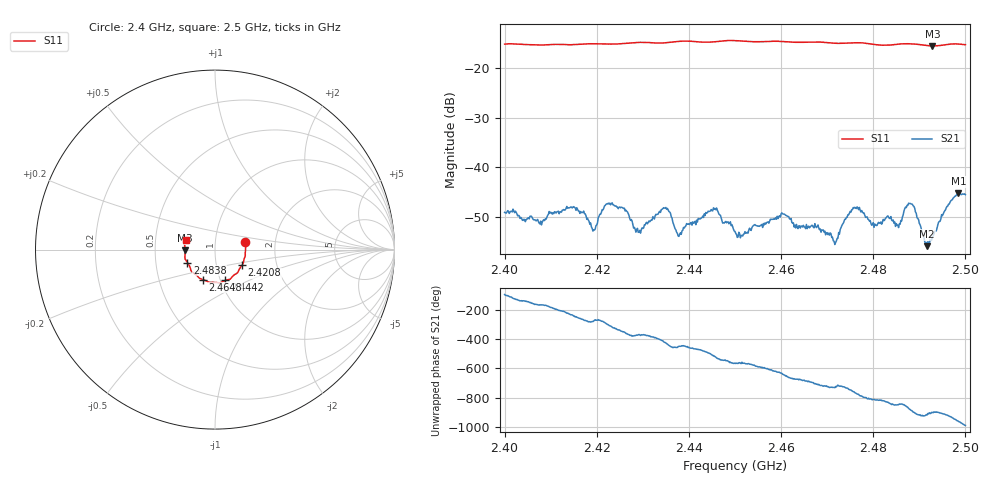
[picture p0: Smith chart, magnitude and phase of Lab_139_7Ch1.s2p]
# Hz S RI R 50
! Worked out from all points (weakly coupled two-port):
!   601 points, 2.4 GHz to 2.5 GHz, reference 50 ohm
!   highest |S21| = -45.22 dB at 2.4985 GHz (marker M1); lowest = -55.8 dB at 2.4917 GHz (marker M2)
!   lowest |S11| = -15.6 dB at 2.4928 GHz (marker M3), VSWR 1.40, Z = 35.8 - j0.348 ohm
!   |S11| at or under -10 dB: start of sweep to end of sweep
!   S12 and S22 are empty: the file has one direction only
!   S11 on the Smith chart (normalised r, x): 2.4 GHz: 1.40, +0.12; 2.4208 GHz: 1.33, -0.24; 2.4442 GHz: 1.05, -0.37; 2.4648 GHz: 0.83, -0.29; 2.4838 GHz: 0.73, -0.11; 2.5 GHz: 0.72, +0.08
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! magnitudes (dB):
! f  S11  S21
! 2.4 GHz  -15.2  -49.0
! 2.4167 GHz  -15.2  -49.1
! 2.4193 GHz  -15.2  -52.6
! 2.4208 GHz  -15.2  -49.4
! 2.4255 GHz  -15.2  -48.1
! 2.429 GHz  -14.9  -53.1
! 2.4333 GHz  -15.0  -49.4
! 2.4378 GHz  -14.7  -53.9
! 2.4442 GHz  -14.9  -48.8
! 2.45 GHz  -14.5  -52.9
! 2.4605 GHz  -14.7  -49.4
! 2.4648 GHz  -14.9  -51.7
! 2.4667 GHz  -14.8  -51.7
! 2.4718 GHz  -15.1  -55.1
! 2.476 GHz  -15.0  -48.0
! 2.4833 GHz  -15.5  -50.0
! 2.4838 GHz  -15.4  -49.9
! 2.4883 GHz  -15.2  -47.4
! 2.4917 GHz  -15.5  -55.8
! 2.4928 GHz  -15.6  -54.0
! 2.4985 GHz  -15.2  -45.2
! 2.5 GHz  -15.4  -45.5
